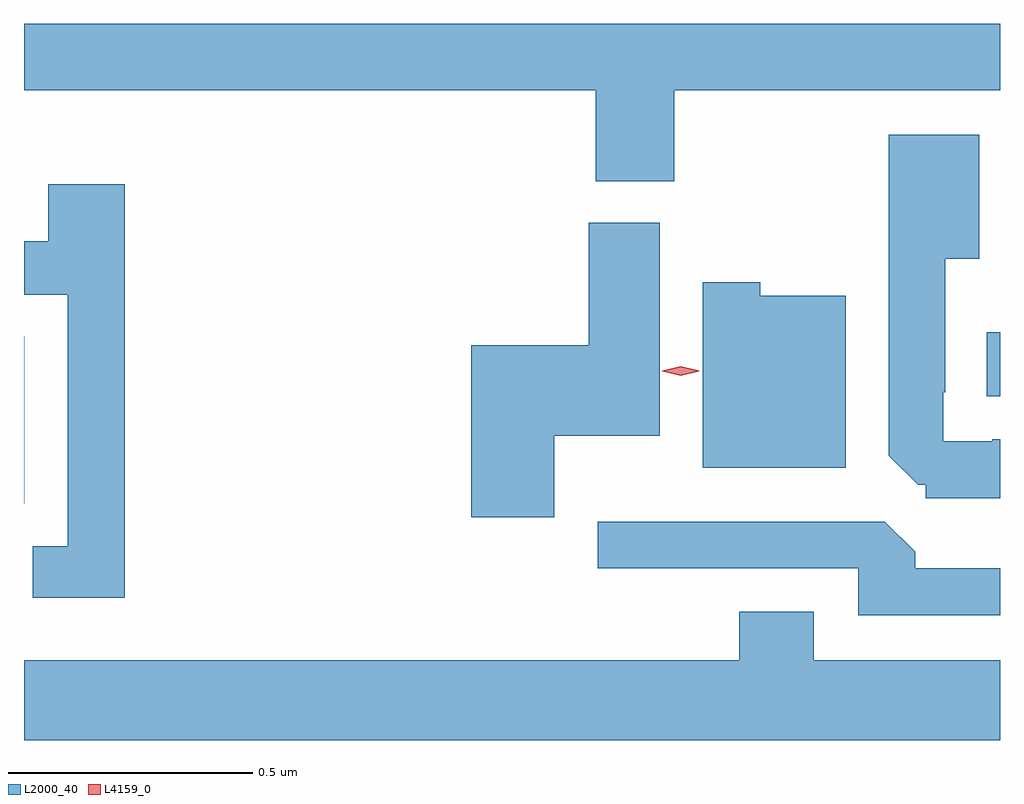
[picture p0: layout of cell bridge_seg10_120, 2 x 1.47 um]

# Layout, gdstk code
import gdstk
lib = gdstk.Library(unit=1e-6, precision=1e-09)
def R(c, l, rs):  # rectangles x0, y0, x1, y1
    for r in rs: c.add(gdstk.rectangle(r[:2], r[2:], *l))
def P(c, l, *ps):  # polygons
    for p in ps: c.add(gdstk.Polygon(p, *l))
L2000_40 = (2000, 40)
L4159_0 = (4159, 0)

bridge_seg10_120 = lib.new_cell('bridge_seg10_120')
R(bridge_seg10_120, L2000_40, [(397.515,1299.469,397.516,1299.812), (399.488,1299.689,399.515,1299.82)])
P(bridge_seg10_120, L2000_40, [(398.847,1300.316),(399.515,1300.316),(399.515,1300.452),(397.515,1300.452),(397.515,1300.316),(398.687,1300.316),(398.687,1300.129),(398.847,1300.129)],
  [(399.515,1299.601),(399.499,1299.601),(399.499,1299.597),(399.399,1299.597),(399.399,1299.697),(399.403,1299.697),(399.403,1299.971),(399.472,1299.971),(399.472,1300.225),(399.287,1300.225),(399.287,1299.567),(399.347,1299.507),(399.363,1299.507),(399.363,1299.48),(399.515,1299.48)],
  [(397.721,1300.123),(397.565,1300.123),(397.565,1300.006),(397.515,1300.006),(397.515,1299.897),(397.605,1299.897),(397.605,1299.381),(397.533,1299.381),(397.533,1299.276),(397.721,1299.276)],
  [(398.602,1299.608),(398.818,1299.608),(398.818,1300.044),(398.672,1300.044),(398.672,1299.793),(398.432,1299.793),(398.432,1299.441),(398.602,1299.441)],
  [(399.199,1299.895),(399.024,1299.895),(399.024,1299.922),(398.906,1299.922),(398.906,1299.542),(399.199,1299.542)],
  [(399.515,1299.336),(399.341,1299.336),(399.341,1299.37),(399.279,1299.432),(398.691,1299.432),(398.691,1299.336),(399.225,1299.336),(399.225,1299.24),(399.515,1299.24)],
  [(399.515,1299.148),(399.133,1299.148),(399.133,1299.247),(398.981,1299.247),(398.981,1299.148),(397.515,1299.148),(397.515,1298.984),(399.515,1298.984)])
P(bridge_seg10_120, L4159_0, [(398.861,1299.731),(398.823,1299.74),(398.823,1299.741),(398.823,1299.741),(398.861,1299.75),(398.899,1299.741),(398.899,1299.74),(398.899,1299.74)])

lib.write_gds('bridge_seg10_120.gds')
